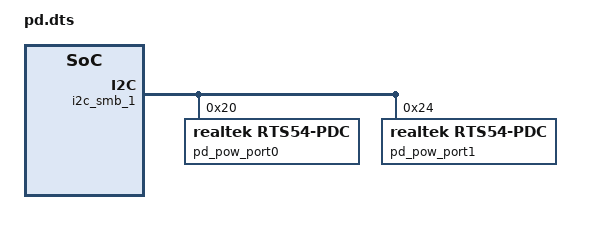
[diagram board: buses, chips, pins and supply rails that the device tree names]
/* Copyright 2024 The ChromiumOS Authors
 * Use of this source code is governed by a BSD-style license that can be
 * found in the LICENSE file.
 */

#include <dt-bindings/gpio_defines.h>

/* typec-aic1-power */
&i2c_smb_1 {
	label = "I2C_PD_POWER";
	status = "okay";

	pd_pow_port0: rts54-pdc@20 {
		compatible = "realtek,rts54-pdc";
		reg = <0x20>;
		irq-gpios = <MCHP_GPIO_DECODE_143 GPIO_ACTIVE_LOW>;
	};
	pd_pow_port1: rts54-pdc@24 {
		compatible = "realtek,rts54-pdc";
		reg = <0x24>;
		irq-gpios = <MCHP_GPIO_DECODE_143 GPIO_ACTIVE_LOW>;
	};
};

&gpio_pdc_pow_irq {
	no-auto-init;
};
